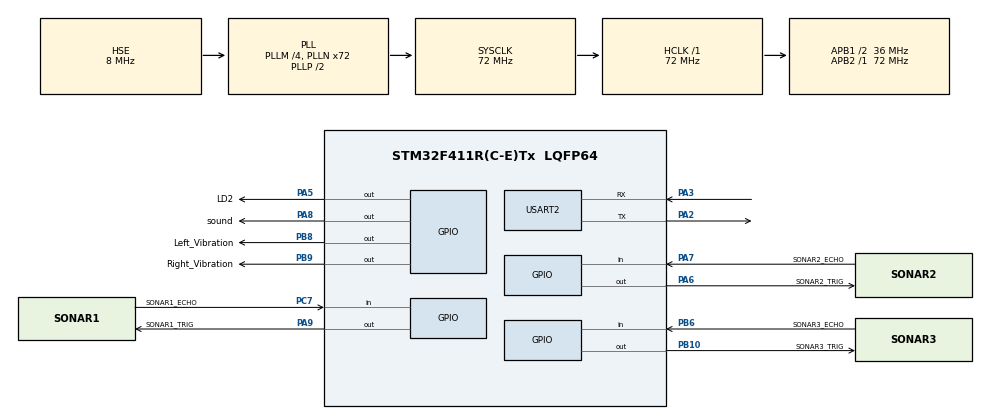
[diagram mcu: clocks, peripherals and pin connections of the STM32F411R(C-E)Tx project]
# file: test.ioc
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Mcu.Family=STM32F4
Mcu.Name=STM32F411R(C-E)Tx
Mcu.Package=LQFP64
NVIC.PriorityGroup=NVIC_PRIORITYGROUP_4
PA13.Mode=Serial_Wire
PA13.Signal=SYS_JTMS-SWDIO
PA14.Mode=Serial_Wire
PA14.Signal=SYS_JTCK-SWCLK
PA2.Mode=Asynchronous
PA2.Signal=USART2_TX
PA3.Mode=Asynchronous
PA3.Signal=USART2_RX
PA5.GPIO_Label=LD2
PA5.Signal=GPIO_Output
PA6.GPIO_Label=SONAR2_TRIG
PA6.Signal=GPIO_Output
PA7.GPIO_Label=SONAR2_ECHO
PA7.Signal=GPIO_Input
PA8.GPIO_Label=sound
PA8.Signal=GPIO_Output
PA9.GPIO_Label=SONAR1_TRIG
PA9.Signal=GPIO_Output
PB10.GPIO_Label=SONAR3_TRIG
PB10.Signal=GPIO_Output
PB6.GPIO_Label=SONAR3_ECHO
PB6.Signal=GPIO_Input
PB8.GPIO_Label=Left_Vibration
PB8.Signal=GPIO_Output
PB9.GPIO_Label=Right_Vibration
PB9.Signal=GPIO_Output
PC7.GPIO_Label=SONAR1_ECHO
PC7.Signal=GPIO_Input
PH0\ -\ OSC_IN.Mode=HSE-External-Oscillator
PH0\ -\ OSC_IN.Signal=RCC_OSC_IN
PH1\ -\ OSC_OUT.Mode=HSE-External-Oscillator
PH1\ -\ OSC_OUT.Signal=RCC_OSC_OUT
ProjectManager.HeapSize=0x200
ProjectManager.StackSize=0x400
ProjectManager.TargetToolchain=STM32CubeIDE
RCC.48MHZClocksFreq_Value=36000000
RCC.AHBFreq_Value=72000000
RCC.APB1CLKDivider=RCC_HCLK_DIV2
RCC.APB1Freq_Value=36000000
RCC.APB1TimFreq_Value=72000000
RCC.APB2Freq_Value=72000000
RCC.APB2TimFreq_Value=72000000
RCC.CortexFreq_Value=72000000
RCC.HCLKFreq_Value=72000000
RCC.HSE_VALUE=8000000
RCC.HSI_VALUE=16000000
RCC.LSE_VALUE=32768
RCC.PLLM=4
RCC.PLLN=72
RCC.PLLSourceVirtual=RCC_PLLSOURCE_HSE
RCC.SYSCLKFreq_VALUE=72000000
RCC.SYSCLKSource=RCC_SYSCLKSOURCE_PLLCLK
RCC.VCOOutputFreq_Value=144000000
TIM1.Prescaler=71
USART2.VirtualMode=VM_ASYNC
VP_TIM1_VS_ClockSourceINT.Mode=Internal
board=custom

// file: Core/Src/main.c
/* USER CODE BEGIN Header */
/**
  ******************************************************************************
  * @file           : main.c
  * @brief          : Main program body
  ******************************************************************************
  * @attention
  *
  * Copyright (c) 2023 STMicroelectronics.
  * All rights reserved.
  *
  * This software is licensed under terms that can be found in the LICENSE file
  * in the root directory of this software component.
  * If no LICENSE file comes with this software, it is provided AS-IS.
  *
  ******************************************************************************
  */
/* USER CODE END Header */
#include "main.h"

TIM_HandleTypeDef htim1;

UART_HandleTypeDef huart2;

/* USER CODE BEGIN PV */
#define SONAR1_ECHO_Pin GPIO_PIN_7 //left
#define SONAR1_ECHO_GPIO_Port GPIOC
#define SONAR1_TRIG_Pin GPIO_PIN_9
#define SONAR1_TRIG_GPIO_Port GPIOA

//
#define SONAR2_TRIG_Pin GPIO_PIN_6 //right
#define SONAR2_TRIG_GPIO_Port GPIOA
#define SONAR2_ECHO_Pin GPIO_PIN_7
#define SONAR2_ECHO_GPIO_Port GPIOA
//
#define SONAR3_TRIG_Pin GPIO_PIN_10 //front
#define SONAR3_TRIG_GPIO_Port GPIOB
#define SONAR3_ECHO_Pin GPIO_PIN_6
#define SONAR3_ECHO_GPIO_Port GPIOB
//
#define LD2_Pin GPIO_PIN_5
#define LD2_GPIO_Port GPIOA
//
#define Right_Vibration_Pin GPIO_PIN_8 //Left_Vibration_Pin
#define Right_Vibration_GPIO_Port GPIOB //Left_Vibration_GPIO_Port
//
#define Left_Vibration_Pin GPIO_PIN_9
#define Left_Vibration_GPIO_Port GPIOB
//
#define sound_Pin GPIO_PIN_8
#define sound_GPIO_Port GPIOA
//
uint32_t state = 1;
uint32_t Distance  = 0;
char messageSend[512];
/* USER CODE END PV */

void SystemClock_Config(void);
static void MX_GPIO_Init(void);
static void MX_TIM1_Init(void);
static void MX_USART2_UART_Init(void);
/* USER CODE BEGIN PFP */
void print_to_screen(uint32_t value, uint32_t sensor_num){
	 sprintf(messageSend, "distance: %d, sensor_num = %d\r\n", value, sensor_num);
	 HAL_UART_Transmit(&huart2, (uint8_t*) messageSend,strlen(messageSend), 5000);  // send json packet
}

uint32_t Sensor_read(GPIO_TypeDef* TRIG_Port, uint16_t TRIG_Pin, GPIO_TypeDef* ECHO_Port, uint16_t ECHO_Pin)
{
	uint32_t Value1 = 0;
	uint32_t Value2 = 0;
	uint32_t distance  = 0;
     HAL_GPIO_WritePin(TRIG_Port, TRIG_Pin, GPIO_PIN_SET);  // pull the TRIG pin HIGH
 	 __HAL_TIM_SET_COUNTER(&htim1, 0);
 	 while (__HAL_TIM_GET_COUNTER (&htim1) < 10);  // wait for 10 us
 	 HAL_GPIO_WritePin(TRIG_Port, TRIG_Pin, GPIO_PIN_RESET);  // pull the TRIG pin low

 	 while (!(HAL_GPIO_ReadPin (ECHO_Port, ECHO_Pin)));
 	 Value1 = __HAL_TIM_GET_COUNTER (&htim1);
 	 // wait for the echo pin to go low
 	 while ((HAL_GPIO_ReadPin (ECHO_Port, ECHO_Pin)));
 	 Value2 = __HAL_TIM_GET_COUNTER (&htim1);

 	 distance = (Value2-Value1)/58;
 	 HAL_Delay(10);
 	 return distance;
}

// Sets the vibration on the left for number of times we want with option for how long it would vibrate
void alert_left(uint16_t number, uint16_t time_up, uint16_t time_down, uint16_t time_up_sound){
	for(uint16_t i=0; i < number; i++)
	{
		HAL_GPIO_WritePin(Left_Vibration_GPIO_Port, Left_Vibration_Pin, GPIO_PIN_SET);
		HAL_GPIO_WritePin(sound_GPIO_Port, sound_Pin, GPIO_PIN_SET);
		HAL_Delay(time_up_sound);
		HAL_GPIO_WritePin(sound_GPIO_Port, sound_Pin, GPIO_PIN_RESET);
		HAL_Delay(time_up-time_up_sound);
		HAL_GPIO_WritePin(Left_Vibration_GPIO_Port, Left_Vibration_Pin, GPIO_PIN_RESET);
		HAL_Delay(time_down);
	}
}

// Sets the vibration on the right for number of times we want with option for how long it would vibrate
void alert_right(uint16_t number, uint16_t time_up, uint16_t time_down, uint16_t time_up_sound){
	for(uint16_t i=0; i < number; i++)
	{
		HAL_GPIO_WritePin(Right_Vibration_GPIO_Port, Right_Vibration_Pin, GPIO_PIN_SET);
		HAL_GPIO_WritePin(sound_GPIO_Port, sound_Pin, GPIO_PIN_SET);
		HAL_Delay(time_up_sound);
		HAL_GPIO_WritePin(sound_GPIO_Port, sound_Pin, GPIO_PIN_RESET);
		HAL_Delay(time_up-time_up_sound);
		HAL_GPIO_WritePin(Right_Vibration_GPIO_Port, Right_Vibration_Pin, GPIO_PIN_RESET);
		HAL_Delay(time_down);
	}
}

// Sets the vibration on the left and right and the light for number of times we want with option for how long it would vibrate
void alert_front(uint16_t number, uint16_t time_up, uint16_t time_down, uint16_t time_up_sound){
	for(uint16_t i=0; i < number; i++)
	{
		HAL_GPIO_WritePin(Left_Vibration_GPIO_Port, Left_Vibration_Pin, GPIO_PIN_SET);
		HAL_GPIO_WritePin(Right_Vibration_GPIO_Port, Right_Vibration_Pin, GPIO_PIN_SET);
		HAL_GPIO_WritePin(LD2_GPIO_Port, LD2_Pin, GPIO_PIN_SET);
		HAL_GPIO_WritePin(sound_GPIO_Port, sound_Pin, GPIO_PIN_SET);
		HAL_Delay(time_up_sound);
		HAL_GPIO_WritePin(sound_GPIO_Port, sound_Pin, GPIO_PIN_RESET);
		HAL_Delay(time_up-time_up_sound);
		HAL_GPIO_WritePin(Right_Vibration_GPIO_Port, Right_Vibration_Pin, GPIO_PIN_RESET);
		HAL_GPIO_WritePin(Left_Vibration_GPIO_Port, Left_Vibration_Pin, GPIO_PIN_RESET);
		HAL_GPIO_WritePin(LD2_GPIO_Port, LD2_Pin, GPIO_PIN_RESET);
		HAL_Delay(time_down);
	}
}

void test(GPIO_TypeDef* TRIG_Port, uint16_t TRIG_Pin, GPIO_TypeDef* ECHO_Port, uint16_t ECHO_Pin)
{
	uint32_t value = 0;
	for (uint16_t i = 0 ; i < 50 ; i++){
		value = value + Sensor_read(TRIG_Port, TRIG_Pin, ECHO_Port, ECHO_Pin);
	}
	print_to_screen(value/50, 0);
}

// Fills up an array with sensor reads and then sorts them and returns the median
uint32_t mead_distance(GPIO_TypeDef* TRIG_Port, uint16_t TRIG_Pin, GPIO_TypeDef* ECHO_Port, uint16_t ECHO_Pin)
{
	//Fill an array with 10 reads from the sensor
	uint32_t array_find_mead[11];
	uint32_t dist = 0;
	for (uint32_t i=0; i<11; i++){
		dist = Sensor_read(TRIG_Port, TRIG_Pin, ECHO_Port, ECHO_Pin);
		array_find_mead[i]=dist;
	}

	//Sort the array in ascending order
	for(int i =0; i<11; i++)
	{
		int key = array_find_mead[i];
		int j = i -1;

		while( j>= 0 && array_find_mead[j] > key)
		{
			array_find_mead[j+1] = array_find_mead[j];
			j--;
		}
		array_find_mead[j+1] = key;
	}

	//return the median value
	return array_find_mead[5];

}

uint32_t flow(uint32_t status)
{
	switch(status)
	{
		case 1: //Base state
			state = 1;
			Distance = mead_distance(SONAR3_TRIG_GPIO_Port, SONAR3_TRIG_Pin, SONAR3_ECHO_GPIO_Port, SONAR3_ECHO_Pin); //read_front
			if(Distance < 110 && Distance > 70)
			{
				alert_front(2, 250, 200, 40);
				break;
			}
			else if(Distance <= 70)
			{
				alert_front(3, 250, 200, 40);
				break;
			}
			Distance = mead_distance(SONAR2_TRIG_GPIO_Port, SONAR2_TRIG_Pin, SONAR2_ECHO_GPIO_Port, SONAR2_ECHO_Pin); //read_right
			if(Distance < 70)
						{
							alert_right(2, 250, 200, 20);
							state = 2;
							break;
						}
			Distance = mead_distance(SONAR1_TRIG_GPIO_Port, SONAR1_TRIG_Pin, SONAR1_ECHO_GPIO_Port, SONAR1_ECHO_Pin); //read_left
			if(Distance < 70)
						{
							alert_left(2, 250, 200, 20);
							state = 3;
							break;
						}
			break;
		case 2: // Follow right wall
			state = 2;
			Distance = mead_distance(SONAR3_TRIG_GPIO_Port, SONAR3_TRIG_Pin, SONAR3_ECHO_GPIO_Port, SONAR3_ECHO_Pin); //read_front
			if(Distance < 65)
			{
				alert_front(2, 250, 200, 40);
				break;
			}
			Distance = mead_distance(SONAR1_TRIG_GPIO_Port, SONAR1_TRIG_Pin, SONAR1_ECHO_GPIO_Port, SONAR1_ECHO_Pin); //read_left
			if(Distance < 50)
			{
				alert_left(2, 250, 200, 20);
				state = 4;
				break;
			}
			Distance = mead_distance(SONAR2_TRIG_GPIO_Port, SONAR2_TRIG_Pin, SONAR2_ECHO_GPIO_Port, SONAR2_ECHO_Pin); //read_right
			if(Distance < 50)
			{
				alert_right(3, 275, 180, 40);
				break;
			}
			Distance = mead_distance(SONAR2_TRIG_GPIO_Port, SONAR2_TRIG_Pin, SONAR2_ECHO_GPIO_Port, SONAR2_ECHO_Pin); //read_right
			if(Distance > 50)
			{
				state = 1;
				break;
			}
			break;
		case 3: //follow left wall
			state = 3;
			Distance = mead_distance(SONAR3_TRIG_GPIO_Port, SONAR3_TRIG_Pin, SONAR3_ECHO_GPIO_Port, SONAR3_ECHO_Pin); //read_front
			if(Distance < 65)
			{
				alert_front(2, 250, 200, 40);
				break;
			}
			Distance = mead_distance(SONAR2_TRIG_GPIO_Port, SONAR2_TRIG_Pin, SONAR2_ECHO_GPIO_Port, SONAR2_ECHO_Pin); //read_right
			if(Distance < 50)
			{
				alert_right(2, 250, 200, 20);
				state = 4;
				break;
			}
			Distance = mead_distance(SONAR1_TRIG_GPIO_Port, SONAR1_TRIG_Pin, SONAR1_ECHO_GPIO_Port, SONAR1_ECHO_Pin); //read_left
			if(Distance < 50)
			{
				alert_left(3, 275, 180, 40);
				break;
			}
			Distance = mead_distance(SONAR1_TRIG_GPIO_Port, SONAR1_TRIG_Pin, SONAR1_ECHO_GPIO_Port, SONAR1_ECHO_Pin); //read_left
			if(Distance > 50)
			{
				state = 1;
				break;
			}
			break;
		case 4:
			state = 4;
			Distance = mead_distance(SONAR3_TRIG_GPIO_Port, SONAR3_TRIG_Pin, SONAR3_ECHO_GPIO_Port, SONAR3_ECHO_Pin); //read_front
			if(Distance < 65)
			{
				alert_front(2, 250, 200, 40);
				break;
			}
			Distance = mead_distance(SONAR1_TRIG_GPIO_Port, SONAR1_TRIG_Pin, SONAR1_ECHO_GPIO_Port, SONAR1_ECHO_Pin); //read_left
			if(Distance < 50)
			{
				alert_left(3, 275, 180, 40);
				break;
			}
			Distance = mead_distance(SONAR2_TRIG_GPIO_Port, SONAR2_TRIG_Pin, SONAR2_ECHO_GPIO_Port, SONAR2_ECHO_Pin); //read_right
			if(Distance < 50)
			{
				alert_right(3, 275, 180, 40);
				break;
			}
			Distance = mead_distance(SONAR1_TRIG_GPIO_Port, SONAR1_TRIG_Pin, SONAR1_ECHO_GPIO_Port, SONAR1_ECHO_Pin); //read_left
			if(Distance > 50)
			{
				state = 2;
				break;
			}
			Distance = mead_distance(SONAR2_TRIG_GPIO_Port, SONAR2_TRIG_Pin, SONAR2_ECHO_GPIO_Port, SONAR2_ECHO_Pin); //read_right
			if(Distance > 50)
			{
				state = 3;
				break;
			}
			break;
	}
	return state;
}
/* USER CODE END PFP */

int main(void)
{

  /* MCU Configuration--------------------------------------------------------*/

  /* Reset of all peripherals, Initializes the Flash interface and the Systick. */
  HAL_Init();

  /* Configure the system clock */
  SystemClock_Config();

  /* Initialize all configured peripherals */
  MX_GPIO_Init();
  MX_TIM1_Init();
  MX_USART2_UART_Init();
  /* USER CODE BEGIN 2 */
  HAL_TIM_Base_Start(&htim1);
  HAL_GPIO_WritePin(SONAR1_TRIG_GPIO_Port, SONAR1_TRIG_Pin, GPIO_PIN_RESET);
  HAL_GPIO_WritePin(SONAR2_TRIG_GPIO_Port, SONAR2_TRIG_Pin, GPIO_PIN_RESET);
  HAL_GPIO_WritePin(SONAR3_TRIG_GPIO_Port, SONAR3_TRIG_Pin, GPIO_PIN_RESET);
  /* USER CODE END 2 */

  /* Infinite loop */
  while (1)
  {
	  state = flow(state);
//	  Distance = mead_distance(SONAR3_TRIG_GPIO_Port, SONAR3_TRIG_Pin, SONAR3_ECHO_GPIO_Port, SONAR3_ECHO_Pin); //read_left
//	  if(Distance < 40)
//	  {
//		  alert_front(2, 250, 200, 20);
//	  }
	  //HAL_Delay(100);
	  //print_to_screen(Distance, state);
  }
}

void SystemClock_Config(void)
{
  RCC_OscInitTypeDef RCC_OscInitStruct = {0};
  RCC_ClkInitTypeDef RCC_ClkInitStruct = {0};

  /** Configure the main internal regulator output voltage
  */
  __HAL_RCC_PWR_CLK_ENABLE();
  __HAL_PWR_VOLTAGESCALING_CONFIG(PWR_REGULATOR_VOLTAGE_SCALE1);

  /** Initializes the RCC Oscillators according to the specified parameters
  * in the RCC_OscInitTypeDef structure.
  */
  RCC_OscInitStruct.OscillatorType = RCC_OSCILLATORTYPE_HSE;
  RCC_OscInitStruct.HSEState = RCC_HSE_ON;
  RCC_OscInitStruct.PLL.PLLState = RCC_PLL_ON;
  RCC_OscInitStruct.PLL.PLLSource = RCC_PLLSOURCE_HSE;
  RCC_OscInitStruct.PLL.PLLM = 4;
  RCC_OscInitStruct.PLL.PLLN = 72;
  RCC_OscInitStruct.PLL.PLLP = RCC_PLLP_DIV2;
  RCC_OscInitStruct.PLL.PLLQ = 4;
  if (HAL_RCC_OscConfig(&RCC_OscInitStruct) != HAL_OK)
  {
    Error_Handler();
  }

  /** Initializes the CPU, AHB and APB buses clocks
  */
  RCC_ClkInitStruct.ClockType = RCC_CLOCKTYPE_HCLK|RCC_CLOCKTYPE_SYSCLK
                              |RCC_CLOCKTYPE_PCLK1|RCC_CLOCKTYPE_PCLK2;
  RCC_ClkInitStruct.SYSCLKSource = RCC_SYSCLKSOURCE_PLLCLK;
  RCC_ClkInitStruct.AHBCLKDivider = RCC_SYSCLK_DIV1;
  RCC_ClkInitStruct.APB1CLKDivider = RCC_HCLK_DIV2;
  RCC_ClkInitStruct.APB2CLKDivider = RCC_HCLK_DIV1;

  if (HAL_RCC_ClockConfig(&RCC_ClkInitStruct, FLASH_LATENCY_2) != HAL_OK)
  {
    Error_Handler();
  }
}

static void MX_TIM1_Init(void)
{

  TIM_ClockConfigTypeDef sClockSourceConfig = {0};
  TIM_MasterConfigTypeDef sMasterConfig = {0};

  htim1.Instance = TIM1;
  htim1.Init.Prescaler = 71;
  htim1.Init.CounterMode = TIM_COUNTERMODE_UP;
  htim1.Init.Period = 65535;
  htim1.Init.ClockDivision = TIM_CLOCKDIVISION_DIV1;
  htim1.Init.RepetitionCounter = 0;
  htim1.Init.AutoReloadPreload = TIM_AUTORELOAD_PRELOAD_DISABLE;
  if (HAL_TIM_Base_Init(&htim1) != HAL_OK)
  {
    Error_Handler();
  }
  sClockSourceConfig.ClockSource = TIM_CLOCKSOURCE_INTERNAL;
  if (HAL_TIM_ConfigClockSource(&htim1, &sClockSourceConfig) != HAL_OK)
  {
    Error_Handler();
  }
  sMasterConfig.MasterOutputTrigger = TIM_TRGO_RESET;
  sMasterConfig.MasterSlaveMode = TIM_MASTERSLAVEMODE_DISABLE;
  if (HAL_TIMEx_MasterConfigSynchronization(&htim1, &sMasterConfig) != HAL_OK)
  {
    Error_Handler();
  }

}

static void MX_USART2_UART_Init(void)
{

  huart2.Instance = USART2;
  huart2.Init.BaudRate = 115200;
  huart2.Init.WordLength = UART_WORDLENGTH_8B;
  huart2.Init.StopBits = UART_STOPBITS_1;
  huart2.Init.Parity = UART_PARITY_NONE;
  huart2.Init.Mode = UART_MODE_TX_RX;
  huart2.Init.HwFlowCtl = UART_HWCONTROL_NONE;
  huart2.Init.OverSampling = UART_OVERSAMPLING_16;
  if (HAL_UART_Init(&huart2) != HAL_OK)
  {
    Error_Handler();
  }

}

static void MX_GPIO_Init(void)
{
  GPIO_InitTypeDef GPIO_InitStruct = {0};

  /* GPIO Ports Clock Enable */
  __HAL_RCC_GPIOH_CLK_ENABLE();
  __HAL_RCC_GPIOA_CLK_ENABLE();
  __HAL_RCC_GPIOB_CLK_ENABLE();
  __HAL_RCC_GPIOC_CLK_ENABLE();

  /*Configure GPIO pin Output Level */
  HAL_GPIO_WritePin(GPIOA, LD2_Pin|SONAR2_TRIG_Pin|sound_Pin|SONAR1_TRIG_Pin, GPIO_PIN_RESET);

  /*Configure GPIO pin Output Level */
  HAL_GPIO_WritePin(GPIOB, SONAR3_TRIG_Pin|Left_Vibration_Pin|Right_Vibration_Pin, GPIO_PIN_RESET);

  /*Configure GPIO pins : LD2_Pin SONAR2_TRIG_Pin sound_Pin SONAR1_TRIG_Pin */
  GPIO_InitStruct.Pin = LD2_Pin|SONAR2_TRIG_Pin|sound_Pin|SONAR1_TRIG_Pin;
  GPIO_InitStruct.Mode = GPIO_MODE_OUTPUT_PP;
  GPIO_InitStruct.Pull = GPIO_NOPULL;
  GPIO_InitStruct.Speed = GPIO_SPEED_FREQ_LOW;
  HAL_GPIO_Init(GPIOA, &GPIO_InitStruct);

  /*Configure GPIO pin : SONAR2_ECHO_Pin */
  GPIO_InitStruct.Pin = SONAR2_ECHO_Pin;
  GPIO_InitStruct.Mode = GPIO_MODE_INPUT;
  GPIO_InitStruct.Pull = GPIO_NOPULL;
  HAL_GPIO_Init(SONAR2_ECHO_GPIO_Port, &GPIO_InitStruct);

  /*Configure GPIO pins : SONAR3_TRIG_Pin Left_Vibration_Pin Right_Vibration_Pin */
  GPIO_InitStruct.Pin = SONAR3_TRIG_Pin|Left_Vibration_Pin|Right_Vibration_Pin;
  GPIO_InitStruct.Mode = GPIO_MODE_OUTPUT_PP;
  GPIO_InitStruct.Pull = GPIO_NOPULL;
  GPIO_InitStruct.Speed = GPIO_SPEED_FREQ_LOW;
  HAL_GPIO_Init(GPIOB, &GPIO_InitStruct);

  /*Configure GPIO pin : SONAR1_ECHO_Pin */
  GPIO_InitStruct.Pin = SONAR1_ECHO_Pin;
  GPIO_InitStruct.Mode = GPIO_MODE_INPUT;
  GPIO_InitStruct.Pull = GPIO_NOPULL;
  HAL_GPIO_Init(SONAR1_ECHO_GPIO_Port, &GPIO_InitStruct);

  /*Configure GPIO pin : SONAR3_ECHO_Pin */
  GPIO_InitStruct.Pin = SONAR3_ECHO_Pin;
  GPIO_InitStruct.Mode = GPIO_MODE_INPUT;
  GPIO_InitStruct.Pull = GPIO_NOPULL;
  HAL_GPIO_Init(SONAR3_ECHO_GPIO_Port, &GPIO_InitStruct);

}

void Error_Handler(void)
{
  __disable_irq();
  while (1)
  {
  }
}
